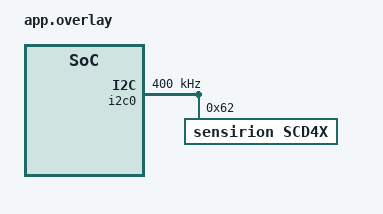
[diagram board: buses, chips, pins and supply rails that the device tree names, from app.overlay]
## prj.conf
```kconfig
CONFIG_CBPRINTF_FP_SUPPORT=y
CONFIG_I2C=y
CONFIG_SENSOR=y
CONFIG_SCD4X=y

CONFIG_LOG=y
CONFIG_SENSOR_LOG_LEVEL_DBG=y

CONFIG_UART_INTERRUPT_DRIVEN=y
CONFIG_SERIAL=y

CONFIG_UART_LINE_CTRL=y
```

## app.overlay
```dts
&i2c0 {
	status = "okay";
	clock-frequency = <I2C_BITRATE_FAST>;
	scd4x@62 {
		status = "okay";
		compatible = "sensirion,scd4x";
		reg = <0x62>;
		model = "scd40";
		altitude = <0>;
		measure-mode = "normal";
		temperature-offset = <4>;
		auto-calibration;
	};
};
```

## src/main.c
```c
/*
 * Copyright (c) 2023 Jan Gnip
 * Copyright (c) 2022 Stephen Oliver
 *
 * SPDX-License-Identifier: Apache-2.0
 */

#include <zephyr/zephyr.h>
#include <zephyr/logging/log.h>

#include <zephyr/device.h>
#include <zephyr/drivers/sensor.h>
#include <stdio.h>

#include <sensor/scd4x/scd4x.h>

LOG_MODULE_REGISTER(main);

#if !DT_HAS_COMPAT_STATUS_OKAY(sensirion_scd4x)
#error "No sensirion,scd4x compatible node found in the device tree"
#endif

void main(void)
{
	const struct device *scd = DEVICE_DT_GET_ANY(sensirion_scd4x);
	struct sensor_value temp, hum, co2;

	if (!device_is_ready(scd))
	{
		LOG_ERR("Device %s is not ready", scd->name);
		return;
	}

	while (true)
	{
		if (sensor_sample_fetch(scd))
		{
			LOG_ERR("Failed to fetch sample from %s device", scd->name);
			return;
		}

		sensor_channel_get(scd, SENSOR_CHAN_AMBIENT_TEMP, &temp);
		sensor_channel_get(scd, SENSOR_CHAN_HUMIDITY, &hum);
		sensor_channel_get(scd, SENSOR_CHAN_CO2, &co2);

		double temperature = sensor_value_to_double(&temp);
		if (IS_ENABLED(CONFIG_APP_USE_FAHRENHEIT))
		{
			temperature = ((9.0 / 5.0) * temperature) + 32;
		}

		LOG_INF("%s Temperature: %.2f°, Humidity: %0.2f%%, CO2: %0.0f ppm",
				scd->name,
				temperature,
				sensor_value_to_double(&hum),
				sensor_value_to_double(&co2));

		k_sleep(K_MSEC(5000));
	}
}
```
